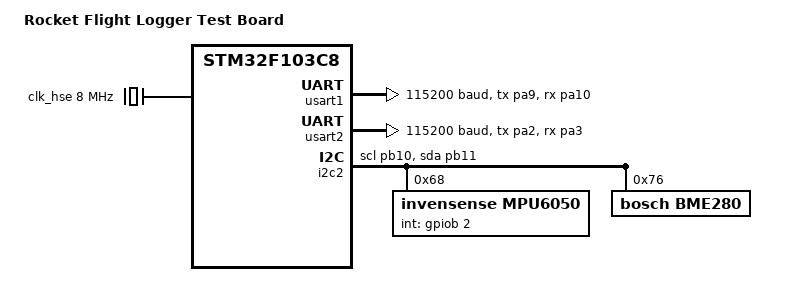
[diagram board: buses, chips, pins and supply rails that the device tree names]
/dts-v1/;
#include <st/f1/stm32f103X8.dtsi>
#include <st/f1/stm32f103c(8-b)tx-pinctrl.dtsi>

/ {
	model = "Rocket Flight Logger Test Board";
	compatible = "st,stm32f103c8";

	chosen {
		zephyr,console = &usart1;
		zephyr,shell-uart = &usart1;
		zephyr,sram = &sram0;
		zephyr,flash = &flash0;
	};

	pinctrl {
    	swj-cfg = "jtag-disable";
	};
};

&clk_hse {
	clock-frequency = <DT_FREQ_M(8)>;
	status = "okay";
};

&pll {
	mul = <9>;
	clocks = <&clk_hse>;
	status = "okay";
};

&rcc {
	clocks = <&pll>;
	clock-frequency = <DT_FREQ_M(72)>;
	ahb-prescaler = <1>;
	apb1-prescaler = <2>;
	apb2-prescaler = <1>;
};

&usart1 {
	pinctrl-0 = <&usart1_tx_pa9 &usart1_rx_pa10>;
	current-speed = <115200>;
	pinctrl-names = "default";
	status = "okay";
};

&usart2 {
	pinctrl-0 = <&usart2_tx_pa2 &usart2_rx_pa3>;
	current-speed = <115200>;
	pinctrl-names = "default";
	status = "okay";
};

&i2c2 {
	pinctrl-0 = <&i2c2_scl_pb10 &i2c2_sda_pb11>;
	pinctrl-names = "default";
	status = "okay";

	mpu6050: mpu6050@68 {
		compatible = "invensense,mpu6050";
		status = "okay";
		reg = <0x68>;
		int-gpios = <&gpiob 2 GPIO_ACTIVE_HIGH>;
	};

	bme280: bme280@76 {
		compatible = "bosch,bme280";
		status = "okay";
		reg = <0x76>;
	};
};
